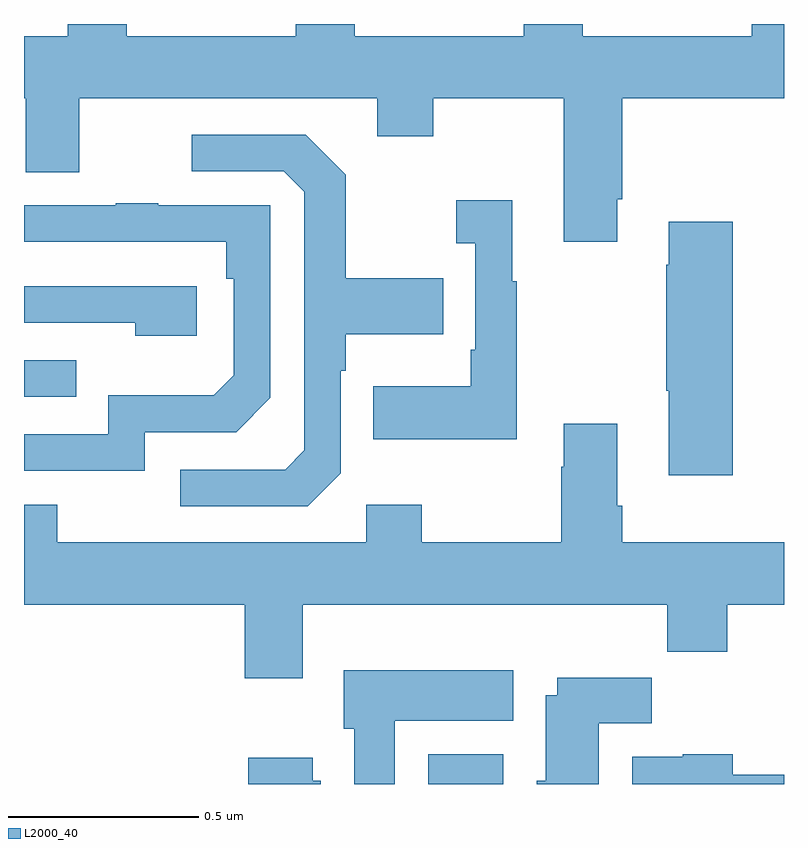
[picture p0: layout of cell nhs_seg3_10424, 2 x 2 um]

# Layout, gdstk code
import gdstk
lib = gdstk.Library(unit=1e-6, precision=1e-09)
def R(c, l, rs):  # rectangles x0, y0, x1, y1
    for r in rs: c.add(gdstk.rectangle(r[:2], r[2:], *l))
def P(c, l, *ps):  # polygons
    for p in ps: c.add(gdstk.Polygon(p, *l))
L2000_40 = (2000, 40)

nhs_seg3_10424 = lib.new_cell('nhs_seg3_10424')
R(nhs_seg3_10424, L2000_40, [(241.064,744.4,241.261,744.478), (240,745.419,240.137,745.515)])
P(nhs_seg3_10424, L2000_40, [(241.561,745.939),(241.574,745.939),(241.574,746.204),(242,746.204),(242,746.4),(241.915,746.4),(241.915,746.368),(241.47,746.368),(241.47,746.4),(241.315,746.4),(241.315,746.368),(240.87,746.368),(240.87,746.4),(240.715,746.4),(240.715,746.368),(240.27,746.368),(240.27,746.4),(240.115,746.4),(240.115,746.368),(240,746.368),(240,746.204),(240.005,746.204),(240.005,746.01),(240.145,746.01),(240.145,746.204),(240.929,746.204),(240.929,746.105),(241.077,746.105),(241.077,746.204),(241.421,746.204),(241.421,745.827),(241.561,745.827)],
  [(240.834,745.218),(240.834,745.487),(240.847,745.487),(240.847,745.583),(241.103,745.583),(241.103,745.731),(240.847,745.731),(240.847,746.003),(240.741,746.109),(240.441,746.109),(240.441,746.013),(240.684,746.013),(240.738,745.959),(240.738,745.278),(240.687,745.227),(240.411,745.227),(240.411,745.131),(240.747,745.131)],
  [(241.297,745.723),(241.285,745.723),(241.285,745.936),(241.137,745.936),(241.137,745.823),(241.188,745.823),(241.188,745.543),(241.176,745.543),(241.176,745.447),(240.919,745.447),(240.919,745.307),(241.297,745.307)],
  [(240.318,745.326),(240.558,745.326),(240.648,745.416),(240.648,745.923),(240.353,745.923),(240.353,745.928),(240.241,745.928),(240.241,745.923),(240,745.923),(240,745.827),(240.532,745.827),(240.532,745.73),(240.552,745.73),(240.552,745.476),(240.499,745.423),(240.222,745.423),(240.222,745.32),(240,745.32),(240,745.224),(240.318,745.224)],
  [(241.865,745.879),(241.697,745.879),(241.697,745.766),(241.69,745.766),(241.69,745.435),(241.697,745.435),(241.697,745.212),(241.865,745.212)],
  [(240.454,745.71),(240,745.71),(240,745.614),(240.293,745.614),(240.293,745.58),(240.454,745.58)],
  [(240.733,744.872),(241.693,744.872),(241.693,744.748),(241.85,744.748),(241.85,744.872),(242,744.872),(242,745.036),(241.574,745.036),(241.574,745.132),(241.561,745.132),(241.561,745.348),(241.421,745.348),(241.421,745.235),(241.414,745.235),(241.414,745.036),(241.047,745.036),(241.047,745.135),(240.9,745.135),(240.9,745.036),(240.087,745.036),(240.087,745.135),(240,745.135),(240,744.872),(240.581,744.872),(240.581,744.678),(240.733,744.678)],
  [(240.976,744.566),(241.288,744.566),(241.288,744.7),(240.842,744.7),(240.842,744.546),(240.869,744.546),(240.869,744.4),(240.976,744.4)],
  [(241.513,744.56),(241.652,744.56),(241.652,744.679),(241.403,744.679),(241.403,744.634),(241.373,744.634),(241.373,744.408),(241.349,744.408),(241.349,744.4),(241.513,744.4)],
  [(242,744.424),(241.865,744.424),(241.865,744.478),(241.734,744.478),(241.734,744.472),(241.601,744.472),(241.601,744.4),(242,744.4)],
  [(240.781,744.408),(240.76,744.408),(240.76,744.469),(240.59,744.469),(240.59,744.4),(240.781,744.4)])

lib.write_gds('nhs_seg3_10424.gds')
